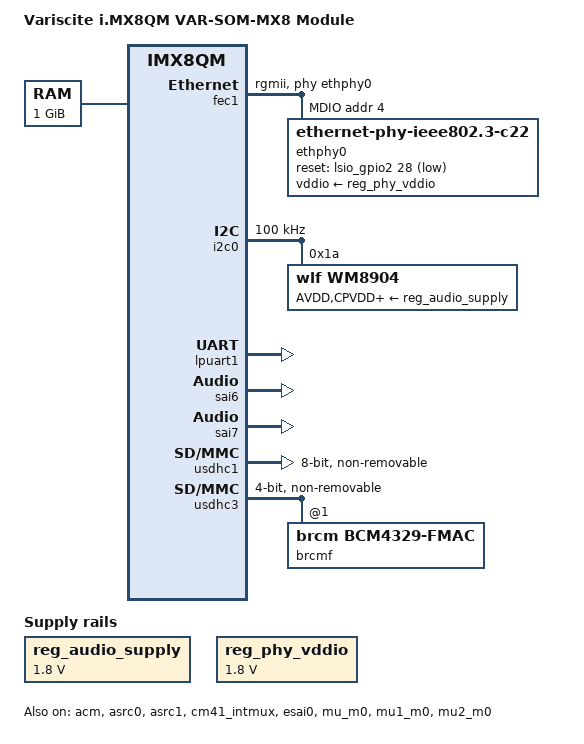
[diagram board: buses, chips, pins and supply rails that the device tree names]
// SPDX-License-Identifier: (GPL-2.0+ OR MIT)
/*
 * Common dtsi for Variscite VAR-SOM-MX8
 *
 * Link: https://variscite.com/system-on-module-som/i-mx-8/i-mx-8-quadmax-quadplus/var-som-mx8/
 *
 * Copyright (C) 2026 Variscite Ltd. - https://www.variscite.com/
 *
 */

/dts-v1/;

#include "imx8qm.dtsi"

/ {
	model = "Variscite i.MX8QM VAR-SOM-MX8 Module";
	compatible = "variscite,var-som-imx8qm", "fsl,imx8qm";

	memory@80000000 {
		device_type = "memory";
		reg = <0x00000000 0x80000000 0 0x40000000>;
	};

	reg_audio_supply: regulator-1p8v {
		compatible = "regulator-fixed";
		regulator-name = "wm8904-supply";
		regulator-min-microvolt = <1800000>;
		regulator-max-microvolt = <1800000>;
		regulator-always-on;
	};

	reg_phy_vddio: regulator-phy-vddio {
		compatible = "regulator-fixed";
		regulator-name = "vddio-1v8";
		regulator-min-microvolt = <1800000>;
		regulator-max-microvolt = <1800000>;
	};

	reserved-memory {
		#address-cells = <2>;
		#size-cells = <2>;
		ranges;

		vdev0vring0: memory@90000000 {
			reg = <0 0x90000000 0 0x8000>;
			no-map;
		};

		vdev0vring1: memory@90008000 {
			reg = <0 0x90008000 0 0x8000>;
			no-map;
		};

		vdev1vring0: memory@90010000 {
			reg = <0 0x90010000 0 0x8000>;
			no-map;
		};

		vdev1vring1: memory@90018000 {
			reg = <0 0x90018000 0 0x8000>;
			no-map;
		};

		rsc_table0: memory@900ff000 {
			reg = <0 0x900ff000 0 0x1000>;
			no-map;
		};

		vdev2vring0: memory@90100000 {
			reg = <0 0x90100000 0 0x8000>;
			no-map;
		};

		vdev2vring1: memory@90108000 {
			reg = <0 0x90108000 0 0x8000>;
			no-map;
		};

		vdev3vring0: memory@90110000 {
			reg = <0 0x90110000 0 0x8000>;
			no-map;
		};

		vdev3vring1: memory@90118000 {
			reg = <0 0x90118000 0 0x8000>;
			no-map;
		};

		rsc_table1: memory@901ff000 {
			reg = <0 0x901ff000 0 0x1000>;
			no-map;
		};

		vdevbuffer: memory@90400000 {
			compatible = "shared-dma-pool";
			reg = <0 0x90400000 0 0x100000>;
			no-map;
		};

		dsp_reserved: memory@92400000 {
			reg = <0 0x92400000 0 0x1000000>;
			no-map;
		};

		dsp_vdev0vring0: memory@942f0000 {
			reg = <0 0x942f0000 0 0x8000>;
			no-map;
		};

		dsp_vdev0vring1: memory@942f8000 {
			reg = <0 0x942f8000 0 0x8000>;
			no-map;
		};

		dsp_vdev0buffer: memory@94300000 {
			compatible = "shared-dma-pool";
			reg = <0 0x94300000 0 0x100000>;
			no-map;
		};

		/* global autoconfigured region for contiguous allocations */
		linux,cma {
			compatible = "shared-dma-pool";
			/* VAR-SOM-MX8QM doesn't have 1GB variant */
			alloc-ranges = <0 0xc0000000 0 0x3c000000>;
			size = <0 0x3c000000>;
			linux,cma-default;
			reusable;
		};
	};

	sound-wm8904 {
		compatible = "simple-audio-card";
		simple-audio-card,bitclock-master = <&codec_dai>;
		simple-audio-card,format = "i2s";
		simple-audio-card,frame-master = <&codec_dai>;
		simple-audio-card,mclk-fs = <256>;
		simple-audio-card,name = "wm8904-audio";
		simple-audio-card,routing =
			"Headphone Jack", "HPOUTL",
			"Headphone Jack", "HPOUTR",
			"IN2L", "Line In Jack",
			"IN2R", "Line In Jack",
			"IN1L", "Microphone Jack",
			"IN1R", "Microphone Jack";
		simple-audio-card,widgets =
			"Microphone", "Microphone Jack",
			"Headphone", "Headphone Jack",
			"Line", "Line In Jack";

		codec_dai: simple-audio-card,codec {
			sound-dai = <&wm8904>;
		};

		simple-audio-card,cpu {
			sound-dai = <&esai0>;
		};
	};
};

&acm {
	status = "okay";
};

&asrc0 {
	fsl,asrc-rate  = <48000>;
	status = "okay";
};

&asrc1 {
	fsl,asrc-rate = <48000>;
	status = "okay";
};

&cm41_intmux {
	status = "okay";
};

&esai0 {
	pinctrl-names = "default";
	pinctrl-0 = <&pinctrl_esai0>;
	assigned-clocks = <&acm IMX_ADMA_ACM_ESAI0_MCLK_SEL>,
			  <&clk IMX_SC_R_AUDIO_PLL_0 IMX_SC_PM_CLK_PLL>,
			  <&clk IMX_SC_R_AUDIO_PLL_0 IMX_SC_PM_CLK_SLV_BUS>,
			  <&clk IMX_SC_R_AUDIO_PLL_0 IMX_SC_PM_CLK_MST_BUS>,
			  <&esai0_lpcg IMX_LPCG_CLK_4>;
	assigned-clock-parents = <&aud_pll_div0_lpcg IMX_LPCG_CLK_0>;
	assigned-clock-rates = <0>, <786432000>, <49152000>, <12288000>, <49152000>;
	#sound-dai-cells = <0>;
	status = "okay";
};

&fec1 {
	pinctrl-names = "default";
	pinctrl-0 = <&pinctrl_fec1>;
	/*
	 * The required RGMII TX and RX 2ns delays are implemented directly
	 * in hardware via passive delay elements on the SOM PCB.
	 * No delay configuration is needed in software via PHY driver.
	 */
	phy-mode = "rgmii";
	phy-handle = <&ethphy0>;
	status = "okay";

	mdio {
		#address-cells = <1>;
		#size-cells = <0>;

		ethphy0: ethernet-phy@4 {
			compatible = "ethernet-phy-ieee802.3-c22";
			reg = <4>;
			reset-gpios = <&lsio_gpio2 28 GPIO_ACTIVE_LOW>;
			reset-assert-us = <10000>;
			reset-deassert-us = <20000>;
			vddio-supply = <&reg_phy_vddio>;
		};
	};
};

&gpio0_mipi_csi0 {
	status = "disabled";
};

&gpio0_mipi_csi1 {
	status = "disabled";
};

&i2c0 {
	clock-frequency = <100000>;
	pinctrl-names = "default";
	pinctrl-0 = <&pinctrl_i2c0>;
	status = "okay";

	wm8904: codec@1a {
		compatible = "wlf,wm8904";
		reg = <0x1a>;
		#sound-dai-cells = <0>;
		clocks = <&mclkout0_lpcg IMX_LPCG_CLK_0>;
		clock-names = "mclk";
		assigned-clocks = <&clk IMX_SC_R_AUDIO_PLL_0 IMX_SC_PM_CLK_PLL>,
				<&clk IMX_SC_R_AUDIO_PLL_0 IMX_SC_PM_CLK_SLV_BUS>,
				<&clk IMX_SC_R_AUDIO_PLL_0 IMX_SC_PM_CLK_MST_BUS>,
				<&mclkout0_lpcg IMX_LPCG_CLK_0>;
		assigned-clock-rates = <786432000>, <49152000>, <12288000>, <12288000>;
		AVDD-supply = <&reg_audio_supply>;
		CPVDD-supply = <&reg_audio_supply>;
		DBVDD-supply = <&reg_audio_supply>;
		DCVDD-supply = <&reg_audio_supply>;
		MICVDD-supply = <&reg_audio_supply>;
		wlf,drc-cfg-names = "default", "peaklimiter", "tradition",
				    "soft", "music";
		/*
		 * Config registers per name, respectively:
		 * KNEE_IP = 0,   KNEE_OP = 0,     HI_COMP = 1,   LO_COMP = 1
		 * KNEE_IP = -24, KNEE_OP = -6,    HI_COMP = 1/4, LO_COMP = 1
		 * KNEE_IP = -42, KNEE_OP = -3,    HI_COMP = 0,   LO_COMP = 1
		 * KNEE_IP = -45, KNEE_OP = -9,    HI_COMP = 1/8, LO_COMP = 1
		 * KNEE_IP = -30, KNEE_OP = -10.5, HI_COMP = 1/4, LO_COMP = 1
		 */
		wlf,drc-cfg-regs = /bits/ 16 <0x01af 0x3248 0x0000 0x0000>,
				   /bits/ 16 <0x04af 0x324b 0x0010 0x0408>,
				   /bits/ 16 <0x04af 0x324b 0x0028 0x0704>,
				   /bits/ 16 <0x04af 0x324b 0x0018 0x078c>,
				   /bits/ 16 <0x04af 0x324b 0x0010 0x050e>;
		/* GPIO1 = DMIC_CLK, don't touch others */
		wlf,gpio-cfg = <0x0018>, <0xffff>, <0xffff>, <0xffff>;
	};
};

/* Bluetooth */
&lpuart1 {
	pinctrl-names = "default";
	pinctrl-0 = <&pinctrl_lpuart1>;
	uart-has-rtscts;
	status = "okay";
};

&mu_m0{
	status = "okay";
};

&mu1_m0{
	status = "okay";
};

&mu2_m0{
	status = "okay";
};

&rtc {
	status = "disabled";
};

&sai6 {
	assigned-clocks = <&acm IMX_ADMA_ACM_SAI6_MCLK_SEL>,
			  <&clk IMX_SC_R_AUDIO_PLL_1 IMX_SC_PM_CLK_PLL>,
			  <&clk IMX_SC_R_AUDIO_PLL_1 IMX_SC_PM_CLK_SLV_BUS>,
			  <&clk IMX_SC_R_AUDIO_PLL_1 IMX_SC_PM_CLK_MST_BUS>,
			  <&sai6_lpcg IMX_LPCG_CLK_4>;
	assigned-clock-parents = <&aud_pll_div1_lpcg IMX_LPCG_CLK_0>;
	assigned-clock-rates = <0>, <786432000>, <98304000>, <12288000>, <98304000>;
	fsl,sai-asynchronous;
	status = "okay";
};

&sai7 {
	assigned-clocks = <&acm IMX_ADMA_ACM_SAI7_MCLK_SEL>,
			  <&clk IMX_SC_R_AUDIO_PLL_1 IMX_SC_PM_CLK_PLL>,
			  <&clk IMX_SC_R_AUDIO_PLL_1 IMX_SC_PM_CLK_SLV_BUS>,
			  <&clk IMX_SC_R_AUDIO_PLL_1 IMX_SC_PM_CLK_MST_BUS>,
			  <&sai7_lpcg IMX_LPCG_CLK_4>;
	assigned-clock-parents = <&aud_pll_div1_lpcg IMX_LPCG_CLK_0>;
	assigned-clock-rates = <0>, <786432000>, <98304000>, <12288000>, <98304000>;
	fsl,sai-asynchronous;
	status = "okay";
};

&thermal_zones {
	pmic-thermal {
		polling-delay-passive = <250>;
		polling-delay = <2000>;
		thermal-sensors = <&tsens IMX_SC_R_PMIC_0>;
		trips {
			pmic_alert0: trip0 {
				temperature = <110000>;
				hysteresis = <2000>;
				type = "passive";
			};
			pmic_crit0: trip1 {
				temperature = <125000>;
				hysteresis = <2000>;
				type = "critical";
			};
		};
		cooling-maps {
			map0 {
				trip = <&pmic_alert0>;
				cooling-device = <&A53_0 THERMAL_NO_LIMIT THERMAL_NO_LIMIT>,
						 <&A53_1 THERMAL_NO_LIMIT THERMAL_NO_LIMIT>,
						 <&A53_2 THERMAL_NO_LIMIT THERMAL_NO_LIMIT>,
						 <&A53_3 THERMAL_NO_LIMIT THERMAL_NO_LIMIT>;
			};
		};
	};
};

/* eMMC */
&usdhc1 {
	pinctrl-names = "default", "state_100mhz", "state_200mhz";
	pinctrl-0 = <&pinctrl_usdhc1>;
	pinctrl-1 = <&pinctrl_usdhc1_100mhz>;
	pinctrl-2 = <&pinctrl_usdhc1_200mhz>;
	bus-width = <8>;
	non-removable;
	status = "okay";
};

/* WIFI */
&usdhc3 {
	#address-cells = <1>;
	#size-cells = <0>;
	pinctrl-names = "default", "state_100mhz", "state_200mhz";
	pinctrl-0 = <&pinctrl_usdhc3>, <&pinctrl_wifi>;
	pinctrl-1 = <&pinctrl_usdhc3_100mhz>, <&pinctrl_wifi>;
	pinctrl-2 = <&pinctrl_usdhc3_200mhz>, <&pinctrl_wifi>;
	bus-width = <4>;
	non-removable;
	status = "okay";

	brcmf: wifi@1 {
		compatible = "brcm,bcm4329-fmac";
		reg = <1>;
	};
};

&iomuxc {
	pinctrl-names = "default";
	pinctrl-0 = <&pinctrl_hog>;

	pinctrl_esai0: esai0grp {
		fsl,pins = <
			IMX8QM_ESAI0_FSR_AUD_ESAI0_FSR				0xc6000040
			IMX8QM_ESAI0_FST_AUD_ESAI0_FST				0xc6000040
			IMX8QM_ESAI0_SCKR_AUD_ESAI0_SCKR			0xc6000040
			IMX8QM_ESAI0_SCKT_AUD_ESAI0_SCKT			0xc6000040
			IMX8QM_ESAI0_TX0_AUD_ESAI0_TX0				0xc6000040
			IMX8QM_ESAI0_TX5_RX0_AUD_ESAI0_TX5_RX0			0xc6000040
			IMX8QM_MCLK_OUT0_AUD_ACM_MCLK_OUT0			0xc600004c
		>;
	};

	pinctrl_fec1: fec1grp {
		fsl,pins = <
			IMX8QM_ENET0_MDC_CONN_ENET0_MDC				0x06000048
			IMX8QM_ENET0_MDIO_CONN_ENET0_MDIO			0x06000048
			IMX8QM_ENET0_RGMII_TX_CTL_CONN_ENET0_RGMII_TX_CTL	0x06000048
			IMX8QM_ENET0_RGMII_TXC_CONN_ENET0_RGMII_TXC		0x06000048
			IMX8QM_ENET0_RGMII_TXD0_CONN_ENET0_RGMII_TXD0		0x06000048
			IMX8QM_ENET0_RGMII_TXD1_CONN_ENET0_RGMII_TXD1		0x06000048
			IMX8QM_ENET0_RGMII_TXD2_CONN_ENET0_RGMII_TXD2		0x06000048
			IMX8QM_ENET0_RGMII_TXD3_CONN_ENET0_RGMII_TXD3		0x06000048
			IMX8QM_ENET0_RGMII_RXC_CONN_ENET0_RGMII_RXC		0x06000048
			IMX8QM_ENET0_RGMII_RX_CTL_CONN_ENET0_RGMII_RX_CTL	0x06000048
			IMX8QM_ENET0_RGMII_RXD0_CONN_ENET0_RGMII_RXD0		0x06000048
			IMX8QM_ENET0_RGMII_RXD1_CONN_ENET0_RGMII_RXD1		0x06000048
			IMX8QM_ENET0_RGMII_RXD2_CONN_ENET0_RGMII_RXD2		0x06000048
			IMX8QM_ENET0_RGMII_RXD3_CONN_ENET0_RGMII_RXD3		0x06000048
			IMX8QM_ESAI0_TX2_RX3_LSIO_GPIO2_IO28			0x06000028
		>;
	};

	pinctrl_hog: hoggrp {
		fsl,pins = <
			IMX8QM_ESAI1_FSR_LSIO_GPIO2_IO04			0x00000041
			IMX8QM_ESAI1_FST_LSIO_GPIO2_IO05			0x00000041
			IMX8QM_ESAI1_SCKR_LSIO_GPIO2_IO06			0x00000041
			IMX8QM_ESAI1_SCKT_LSIO_GPIO2_IO07			0x00000041
			IMX8QM_SPDIF0_EXT_CLK_LSIO_GPIO2_IO16			0x00000041
		>;
	};

	pinctrl_i2c0: i2c0grp {
		fsl,pins = <
			IMX8QM_HDMI_TX0_TS_SCL_DMA_I2C0_SCL			0xc6000020
			IMX8QM_HDMI_TX0_TS_SDA_DMA_I2C0_SDA			0xc6000020
		>;
	};

	pinctrl_lpuart1: lpuart1grp {
		fsl,pins = <
			IMX8QM_UART1_RX_DMA_UART1_RX				0x06000020
			IMX8QM_UART1_TX_DMA_UART1_TX				0x06000020
			IMX8QM_UART1_CTS_B_DMA_UART1_RTS_B			0x06000020
			IMX8QM_UART1_RTS_B_DMA_UART1_CTS_B			0x06000020
		>;
	};

	pinctrl_usdhc1: usdhc1grp {
		fsl,pins = <
			IMX8QM_EMMC0_CLK_CONN_EMMC0_CLK				0x06000041
			IMX8QM_EMMC0_CMD_CONN_EMMC0_CMD				0x00000021
			IMX8QM_EMMC0_DATA0_CONN_EMMC0_DATA0			0x00000021
			IMX8QM_EMMC0_DATA1_CONN_EMMC0_DATA1			0x00000021
			IMX8QM_EMMC0_DATA2_CONN_EMMC0_DATA2			0x00000021
			IMX8QM_EMMC0_DATA3_CONN_EMMC0_DATA3			0x00000021
			IMX8QM_EMMC0_DATA4_CONN_EMMC0_DATA4			0x00000021
			IMX8QM_EMMC0_DATA5_CONN_EMMC0_DATA5			0x00000021
			IMX8QM_EMMC0_DATA6_CONN_EMMC0_DATA6			0x00000021
			IMX8QM_EMMC0_DATA7_CONN_EMMC0_DATA7			0x00000021
			IMX8QM_EMMC0_STROBE_CONN_EMMC0_STROBE			0x06000041
			IMX8QM_EMMC0_RESET_B_CONN_EMMC0_RESET_B			0x00000021
		>;
	};

	pinctrl_usdhc1_100mhz: usdhc1-100mhzgrp {
		fsl,pins = <
			IMX8QM_EMMC0_CLK_CONN_EMMC0_CLK				0x06000040
			IMX8QM_EMMC0_CMD_CONN_EMMC0_CMD				0x00000020
			IMX8QM_EMMC0_DATA0_CONN_EMMC0_DATA0			0x00000020
			IMX8QM_EMMC0_DATA1_CONN_EMMC0_DATA1			0x00000020
			IMX8QM_EMMC0_DATA2_CONN_EMMC0_DATA2			0x00000020
			IMX8QM_EMMC0_DATA3_CONN_EMMC0_DATA3			0x00000020
			IMX8QM_EMMC0_DATA4_CONN_EMMC0_DATA4			0x00000020
			IMX8QM_EMMC0_DATA5_CONN_EMMC0_DATA5			0x00000020
			IMX8QM_EMMC0_DATA6_CONN_EMMC0_DATA6			0x00000020
			IMX8QM_EMMC0_DATA7_CONN_EMMC0_DATA7			0x00000020
			IMX8QM_EMMC0_STROBE_CONN_EMMC0_STROBE			0x06000040
			IMX8QM_EMMC0_RESET_B_CONN_EMMC0_RESET_B			0x00000020
		>;
	};

	pinctrl_usdhc1_200mhz: usdhc1-200mhzgrp {
		fsl,pins = <
			IMX8QM_EMMC0_CLK_CONN_EMMC0_CLK				0x06000040
			IMX8QM_EMMC0_CMD_CONN_EMMC0_CMD				0x00000020
			IMX8QM_EMMC0_DATA0_CONN_EMMC0_DATA0			0x00000020
			IMX8QM_EMMC0_DATA1_CONN_EMMC0_DATA1			0x00000020
			IMX8QM_EMMC0_DATA2_CONN_EMMC0_DATA2			0x00000020
			IMX8QM_EMMC0_DATA3_CONN_EMMC0_DATA3			0x00000020
			IMX8QM_EMMC0_DATA4_CONN_EMMC0_DATA4			0x00000020
			IMX8QM_EMMC0_DATA5_CONN_EMMC0_DATA5			0x00000020
			IMX8QM_EMMC0_DATA6_CONN_EMMC0_DATA6			0x00000020
			IMX8QM_EMMC0_DATA7_CONN_EMMC0_DATA7			0x00000020
			IMX8QM_EMMC0_STROBE_CONN_EMMC0_STROBE			0x06000040
			IMX8QM_EMMC0_RESET_B_CONN_EMMC0_RESET_B			0x00000020
		>;
	};

	pinctrl_usdhc3: usdhc3grp {
		fsl,pins = <
			IMX8QM_USDHC2_CLK_CONN_USDHC2_CLK			0x06000041
			IMX8QM_USDHC2_CMD_CONN_USDHC2_CMD			0x00000021
			IMX8QM_USDHC2_DATA0_CONN_USDHC2_DATA0			0x00000021
			IMX8QM_USDHC2_DATA1_CONN_USDHC2_DATA1			0x00000021
			IMX8QM_USDHC2_DATA2_CONN_USDHC2_DATA2			0x00000021
			IMX8QM_USDHC2_DATA3_CONN_USDHC2_DATA3			0x00000021
		>;
	};

	pinctrl_usdhc3_100mhz: usdhc3100mhzgrp {
		fsl,pins = <
			IMX8QM_USDHC2_CLK_CONN_USDHC2_CLK			0x06000040
			IMX8QM_USDHC2_CMD_CONN_USDHC2_CMD			0x00000020
			IMX8QM_USDHC2_DATA0_CONN_USDHC2_DATA0			0x00000020
			IMX8QM_USDHC2_DATA1_CONN_USDHC2_DATA1			0x00000020
			IMX8QM_USDHC2_DATA2_CONN_USDHC2_DATA2			0x00000020
			IMX8QM_USDHC2_DATA3_CONN_USDHC2_DATA3			0x00000020
		>;
	};

	pinctrl_usdhc3_200mhz: usdhc3-200mhzgrp {
		fsl,pins = <
			IMX8QM_USDHC2_CLK_CONN_USDHC2_CLK			0x06000040
			IMX8QM_USDHC2_CMD_CONN_USDHC2_CMD			0x00000020
			IMX8QM_USDHC2_DATA0_CONN_USDHC2_DATA0			0x00000020
			IMX8QM_USDHC2_DATA1_CONN_USDHC2_DATA1			0x00000020
			IMX8QM_USDHC2_DATA2_CONN_USDHC2_DATA2			0x00000020
			IMX8QM_USDHC2_DATA3_CONN_USDHC2_DATA3			0x00000020
		>;
	};

	pinctrl_wifi: wifigrp {
		fsl,pins = <
			/* GPIOs used by user space WiFi init */
			IMX8QM_SCU_GPIO0_07_SCU_DSC_RTC_CLOCK_OUTPUT_32K	0xc600004c
			IMX8QM_SCU_GPIO0_03_LSIO_GPIO0_IO31			0x06000021
			IMX8QM_SCU_GPIO0_02_LSIO_GPIO0_IO30			0x00000021
			IMX8QM_QSPI1A_DATA0_LSIO_GPIO4_IO26			0x00000021
		>;
	};
};
